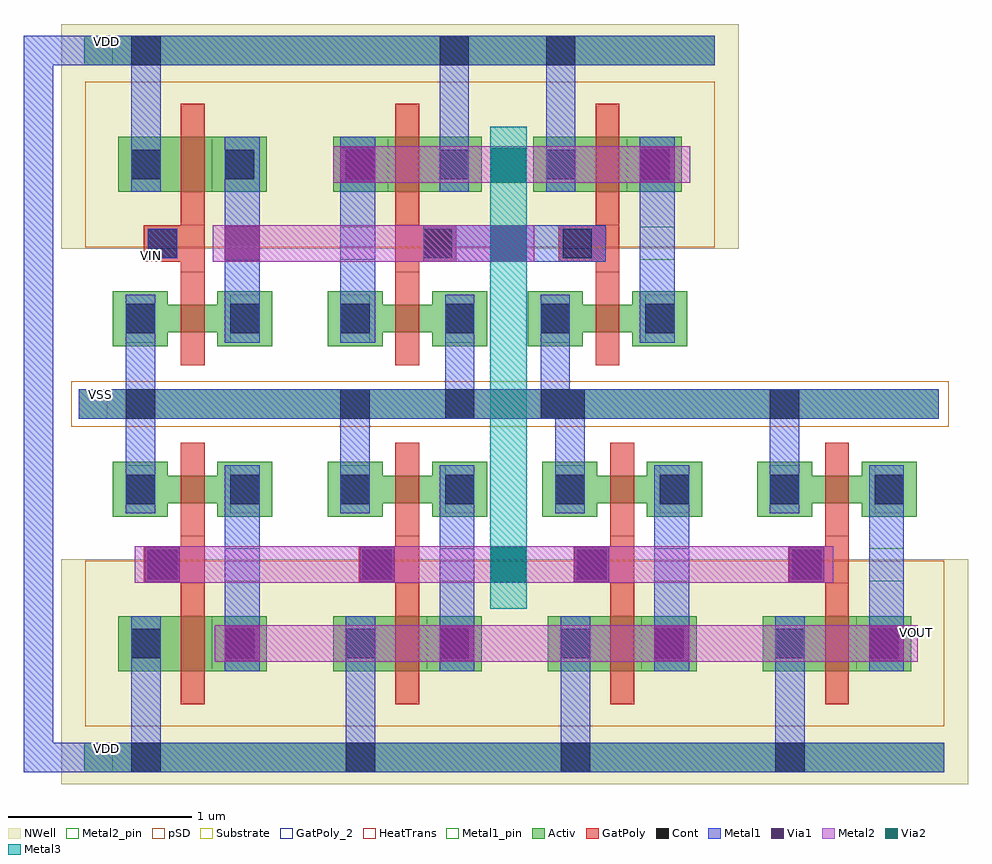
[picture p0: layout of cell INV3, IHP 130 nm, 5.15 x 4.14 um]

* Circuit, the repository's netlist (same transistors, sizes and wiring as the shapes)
* Extracted by KLayout with SG13G2 LVS runset on : 21/01/2026 22:49

.SUBCKT INV3
X$4 \$4 \$5 \$2 \$3 INV_D1
X$5 \$4 \$5 \$2 \$3 INV_D1
X$6 \$4 \$5 \$2 \$3 INV_D1
X$7 \$4 \$5 \$2 \$3 INV_D1
X$8 \$4 \$5 \$I3 \$1 INV_D1
X$9 \$4 \$5 \$1 \$2 INV_D1
X$10 \$4 \$5 \$1 \$2 INV_D1
.ENDS INV3

.SUBCKT INV_D1 \$1 \$2 \$3 \$4
M$1 \$2 \$3 \$4 \$2 sg13_lv_pmos L=0.13u W=0.3u AS=0.102p AD=0.102p PS=1.28u
+ PD=1.28u
M$2 \$1 \$3 \$4 \$1 sg13_lv_nmos L=0.13u W=0.15u AS=0.1005p AD=0.1005p PS=1.34u
+ PD=1.34u
.ENDS INV_D1

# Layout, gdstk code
from math import pi, radians
import gdstk
lib = gdstk.Library(unit=1e-6, precision=5e-09)
def R(c, l, rs):  # rectangles x0, y0, x1, y1
    for r in rs: c.add(gdstk.rectangle(r[:2], r[2:], *l))
def A(c, l, x, y, w, h, nx, ny, dx, dy):  # array of equal rectangles
    R(c, l, [(x+i*dx, y+j*dy, x+i*dx+w, y+j*dy+h) for i in range(nx) for j in range(ny)])
Activ = (1, 0)
GatPoly = (5, 0)
GatPoly_2 = (5, 2)
Cont = (6, 0)
Metal1 = (8, 0)
Metal1_pin = (8, 2)
Metal2 = (10, 0)
Metal2_pin = (10, 2)
pSD = (14, 0)
Via1 = (19, 0)
Via2 = (29, 0)
Metal3 = (30, 0)
NWell = (31, 0)
Substrate = (40, 0)
HeatTrans = (51, 0)

nmos = lib.new_cell('nmos')
R(nmos, Activ, [(0,-0.05,0.3,0.25), (0.57,-0.05,0.87,0.25), (0,0.025,0.87,0.175)])
R(nmos, GatPoly, [(0.37,-0.155,0.5,0.355)])
R(nmos, GatPoly_2, [(0.37,-0.155,0.5,0.355)])
R(nmos, Cont, [(0.07,0.02,0.23,0.18), (0.64,0.02,0.8,0.18)])
R(nmos, Metal1, [(0.07,-0.03,0.23,0.23), (0.64,-0.03,0.8,0.23)])
R(nmos, Metal1_pin, [(0.07,-0.03,0.23,0.23), (0.64,-0.03,0.8,0.23)])
R(nmos, HeatTrans, [(0.37,-0.155,0.5,0.355)])
nmos.add(gdstk.Label('nmos', (0.435,0.1), layer=63, texttype=0))
nmos.add(gdstk.Label('nmos', (0.435,0.1), layer=51, texttype=0))

pmos_1 = lib.new_cell('pmos$1')
R(pmos_1, Activ, [(0,0,0.3,0.3), (0,0,0.81,0.3), (0.51,0,0.81,0.3)])
R(pmos_1, GatPoly, [(0.34,-0.18,0.47,0.48), (0.34,-0.18,0.47,0.48)])
R(pmos_1, Cont, [(0.07,0.07,0.23,0.23), (0.58,0.07,0.74,0.23)])
R(pmos_1, Metal1, [(0.07,0,0.23,0.3), (0.07,0,0.23,0.3), (0.58,0,0.74,0.3), (0.58,0,0.74,0.3)])
R(pmos_1, pSD, [(-0.18,-0.3,0.99,0.6)])
R(pmos_1, NWell, [(-0.31,-0.31,1.12,0.61)])
R(pmos_1, Substrate, [(0.51,0,0.81,0.3)])
R(pmos_1, HeatTrans, [(0.34,-0.18,0.47,0.48)])
pmos_1.add(gdstk.Label('pmos', (0.405,0.15), layer=63, texttype=0))
pmos_1.add(gdstk.Label('pmos', (0.405,0.15), layer=51, texttype=0))

inv_d1 = lib.new_cell('INV_D1')
R(inv_d1, Activ, [(-0.63,-1.05,0.545,-0.89), (-0.6,0.875,0.575,1.035)])
R(inv_d1, GatPoly, [(-0.075,-0.25,0.055,0.005), (-0.275,-0.195,-0.075,0.005)])
R(inv_d1, Cont, [(-0.375,-1.05,-0.215,-0.89), (-0.255,-0.175,-0.095,-0.015), (-0.345,0.875,-0.185,1.035)])
R(inv_d1, Metal1, [(-0.375,-1.05,-0.215,-0.635), (0.165,-0.635,0.355,0.485), (-0.255,-0.175,-0.095,-0.015), (-0.345,0.485,-0.185,1.035)])
R(inv_d1, Metal1_pin, [(-0.375,-1.05,-0.215,-0.89), (0.165,-0.185,0.355,-0.005), (-0.255,-0.175,-0.095,-0.015), (-0.345,0.875,-0.185,1.035)])
R(inv_d1, pSD, [(-0.67,-1.095,0.6,-0.845)])
R(inv_d1, NWell, [(-0.725,0.795,0.705,1.1)])
inv_d1.add(gdstk.Reference(nmos, (-0.445,-0.605)))
inv_d1.add(gdstk.Reference(pmos_1, (-0.415,0.185)))
inv_d1.add(gdstk.Label('VIN', (-0.145,-0.035), layer=8, texttype=2))
inv_d1.add(gdstk.Label('VSS', (-0.26,-0.915), layer=8, texttype=2))
inv_d1.add(gdstk.Label('VOUT', (0.305,-0.06), layer=8, texttype=2))
inv_d1.add(gdstk.Label('VDD', (-0.215,1.01), layer=8, texttype=2))

c_x1 = lib.new_cell('x1')
c_x1.add(gdstk.Reference(inv_d1, (-0.605,0.11), rotation=pi, x_reflection=True))
c_x1.add(gdstk.Reference(inv_d1, (0.505,0.11)))

c_x2 = lib.new_cell('x2')
c_x2.add(gdstk.Reference(inv_d1, (-0.02,0.03)))

c_x3 = lib.new_cell('x3')
r = gdstk.Reference(inv_d1, (0.405,2.51)); r.repetition = gdstk.Repetition(4, 1, v1=(1.17,0), v2=(0,0)); c_x3.add(r)

inv3 = lib.new_cell('INV3')
R(inv3, Metal1, [(-1.05,-2.5,3.635,-2.34), (-1.08,-0.575,3.605,-0.415), (0.795,0.28,1.79,0.48), (-1.05,1.35,2.385,1.51)])
R(inv3, Metal1_pin, [(-1.05,-2.5,-0.895,-2.34), (-1.08,-0.575,-0.925,-0.415), (0.345,0.72,0.535,0.9), (1.975,0.725,2.165,0.905), (1.975,0.725,2.165,0.905), (-1.05,1.35,-0.895,1.51)])
R(inv3, Metal2, [(-0.34,-1.9,3.49,-1.7), (-0.775,-1.47,3.03,-1.27), (-0.35,0.28,1.4,0.48), (0.305,0.71,2.25,0.91)])
R(inv3, Metal2_pin, [(3.29,-1.9,3.49,-1.7)])
A(inv3, Via1, -0.285, -1.895, 0.19, 0.19, 4, 1, 1.17, 0)
A(inv3, Via1, -0.72, -1.465, 0.19, 0.19, 4, 1, 1.17, 0)
R(inv3, Via1, [(-0.285,0.285,-0.095,0.475), (1.165,0.285,1.355,0.475), (0.345,0.715,0.535,0.905), (1.975,0.715,2.165,0.905), (1.975,0.715,2.165,0.905)])
R(inv3, Via2, [(1.165,-1.465,1.355,-1.275), (1.165,0.71,1.355,0.9)])
R(inv3, Metal3, [(1.16,-1.61,1.36,1.015)])
inv3.add(gdstk.FlexPath([(-1.05,1.43),(-1.3,1.43),(-1.3,-2.42),(-1.05,-2.42)], 0.16, ends="flush", simple_path=True, layer=8, datatype=0))  # Metal1
inv3.add(gdstk.Reference(c_x1, (1.305,0.365)))
inv3.add(gdstk.Reference(c_x2, (-0.43,0.445)))
inv3.add(gdstk.Reference(c_x3, (-0.855,1.045), x_reflection=True))
inv3.add(gdstk.Label('VIN', (-0.685,0.315), layer=8, texttype=2))
inv3.add(gdstk.Label('VDD', (-0.93,-2.37), layer=8, texttype=2))
inv3.add(gdstk.Label('VDD', (-0.93,1.48), layer=8, texttype=2))
inv3.add(gdstk.Label('VSS', (-0.96,-0.445), layer=8, texttype=2))
inv3.add(gdstk.Label('VOUT', (3.485,-1.74), layer=10, texttype=2))

lib.write_gds('INV3.gds')
